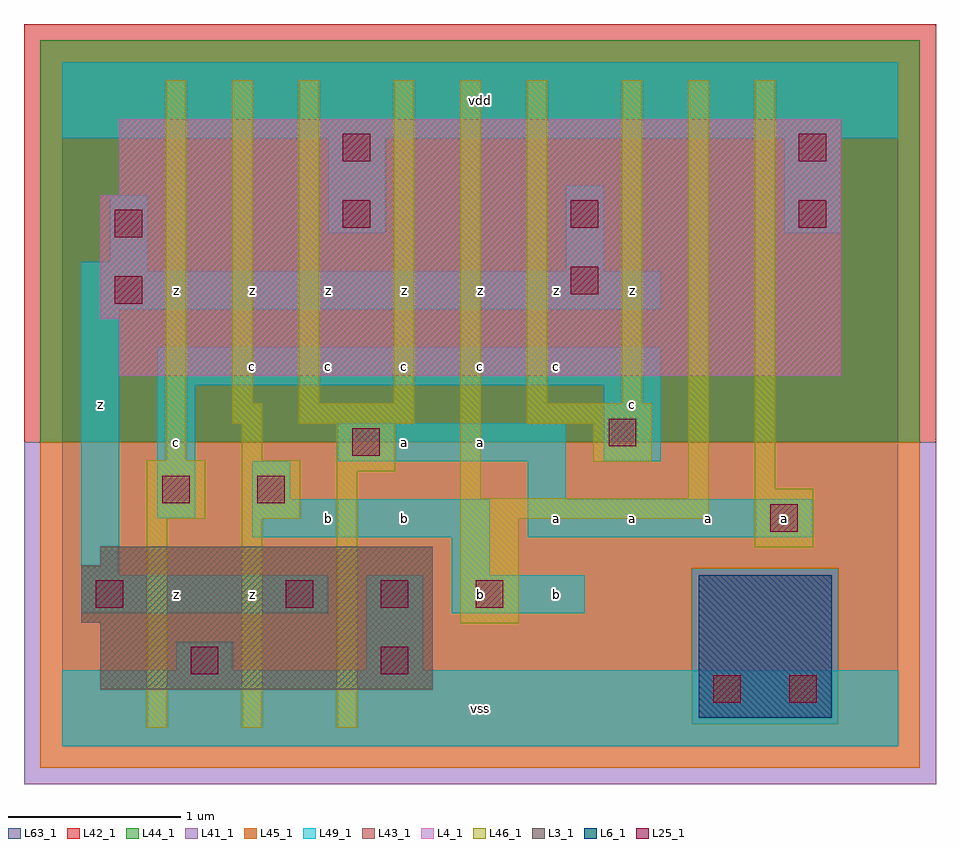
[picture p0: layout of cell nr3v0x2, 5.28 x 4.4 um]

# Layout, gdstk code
import gdstk
lib = gdstk.Library(unit=1e-6, precision=1e-09)
def R(c, l, rs):  # rectangles x0, y0, x1, y1
    for r in rs: c.add(gdstk.rectangle(r[:2], r[2:], *l))
def A(c, l, x, y, w, h, nx, ny, dx, dy):  # array of equal rectangles
    R(c, l, [(x+i*dx, y+j*dy, x+i*dx+w, y+j*dy+h) for i in range(nx) for j in range(ny)])
L3_1 = (3, 1)
L4_1 = (4, 1)
L6_1 = (6, 1)
L25_1 = (25, 1)
L41_1 = (41, 1)
L42_1 = (42, 1)
L43_1 = (43, 1)
L44_1 = (44, 1)
L45_1 = (45, 1)
L46_1 = (46, 1)
L49_1 = (49, 1)
L63_1 = (63, 1)

nr3v0x2 = lib.new_cell('nr3v0x2')
R(nr3v0x2, L3_1, [(0.22,0.33,2.145,0.715), (0.11,0.715,2.145,1.045), (0.22,1.045,2.145,1.155)])
R(nr3v0x2, L4_1, [(0.33,2.145,4.51,2.475), (0.22,2.475,4.51,3.19), (0.33,3.19,4.51,3.63)])
R(nr3v0x2, L6_1, [(3.685,0.165,4.455,0.99)])
A(nr3v0x2, L25_1, 1.295, 0.8, 0.16, 0.16, 3, 1, 0.55, 0)
A(nr3v0x2, L25_1, 1.625, 3, 0.16, 0.16, 3, 1, 1.32, 0)
R(nr3v0x2, L25_1, [(3.77,0.25,3.93,0.41), (4.21,0.25,4.37,0.41), (0.745,0.415,0.905,0.575), (1.845,0.415,2.005,0.575), (0.195,0.8,0.355,0.96), (4.1,1.24,4.26,1.4), (0.58,1.405,0.74,1.565), (1.13,1.405,1.29,1.565), (1.68,1.68,1.84,1.84), (3.165,1.735,3.325,1.895), (0.305,2.56,0.465,2.72), (2.945,2.615,3.105,2.775), (0.305,2.945,0.465,3.105), (1.625,3.385,1.785,3.545), (4.265,3.385,4.425,3.545)])
R(nr3v0x2, L41_1, [(-0.22,-0.22,5.06,1.76)])
R(nr3v0x2, L42_1, [(-0.22,1.76,5.06,4.18)])
R(nr3v0x2, L43_1, [(3.685,0.165,4.455,0.99), (0.22,0.33,2.145,0.715), (0.11,0.715,2.145,1.045), (0.22,1.045,2.145,1.155), (0.33,2.145,4.51,2.475), (0.22,2.475,4.51,3.19), (0.33,3.19,4.51,3.63)])
R(nr3v0x2, L44_1, [(3.645,0.125,4.495,1.03), (-0.125,1.76,4.965,4.085)])
R(nr3v0x2, L45_1, [(-0.125,-0.125,4.965,0.125), (-0.125,0.125,3.645,1.03), (4.495,0.125,4.965,1.03), (-0.125,1.03,4.965,1.76)])
R(nr3v0x2, L46_1, [(0.49,0.105,0.61,1.315), (1.04,0.105,1.16,1.315), (1.59,0.105,1.71,1.59), (2.305,0.71,2.645,1.315), (4.01,1.15,4.35,1.49), (0.49,1.315,0.83,1.655), (1.04,1.315,1.38,1.655), (2.305,1.315,3.745,1.435), (2.305,1.435,2.425,3.855), (3.625,1.435,3.745,3.855), (4.01,1.49,4.13,3.855), (1.59,1.59,1.93,1.865), (3.075,1.645,3.415,1.865), (0.6,1.655,0.72,3.855), (1.04,1.655,1.16,1.865), (0.985,1.865,1.16,1.985), (1.37,1.865,2.04,1.985), (2.69,1.865,3.415,1.985), (0.985,1.985,1.105,3.855), (1.37,1.985,1.49,3.855), (1.92,1.985,2.04,3.855), (2.69,1.985,2.81,3.855), (3.24,1.985,3.36,3.855)])
R(nr3v0x2, L49_1, [(0,0,4.84,0.44), (0.66,0.44,0.99,0.605), (1.76,0.44,2.09,0.99), (0.11,0.77,1.54,0.99), (2.255,0.77,3.025,0.99), (0.11,0.99,0.33,2.53), (2.255,0.99,2.475,1.21), (1.1,1.21,2.475,1.43), (2.695,1.21,4.345,1.43), (0.55,1.32,0.77,2.09), (1.1,1.43,1.32,1.65), (2.695,1.43,2.915,1.65), (1.595,1.65,2.915,1.87), (3.135,1.65,3.465,2.09), (0.55,2.09,3.465,2.31), (0.11,2.53,3.465,2.75), (0.11,2.75,0.495,2.805), (2.915,2.75,3.135,3.245), (0.275,2.805,0.495,3.19), (1.54,2.97,1.87,3.52), (4.18,2.97,4.51,3.52), (0,3.52,4.84,3.96)])
R(nr3v0x2, L63_1, [(0,0,4.84,3.96)])
nr3v0x2.add(gdstk.Label('z', (0.66,0.88), layer=49, texttype=1))
nr3v0x2.add(gdstk.Label('c', (0.66,1.76), layer=49, texttype=1))
nr3v0x2.add(gdstk.Label('z', (0.22,1.98), layer=49, texttype=1))
nr3v0x2.add(gdstk.Label('z', (0.66,2.64), layer=49, texttype=1))
nr3v0x2.add(gdstk.Label('z', (1.1,0.88), layer=49, texttype=1))
nr3v0x2.add(gdstk.Label('b', (1.54,1.32), layer=49, texttype=1))
nr3v0x2.add(gdstk.Label('c', (1.1,2.2), layer=49, texttype=1))
nr3v0x2.add(gdstk.Label('c', (1.54,2.2), layer=49, texttype=1))
nr3v0x2.add(gdstk.Label('z', (1.1,2.64), layer=49, texttype=1))
nr3v0x2.add(gdstk.Label('z', (1.54,2.64), layer=49, texttype=1))
nr3v0x2.add(gdstk.Label('vss', (2.42,0.22), layer=49, texttype=1))
nr3v0x2.add(gdstk.Label('b', (2.42,0.88), layer=49, texttype=1))
nr3v0x2.add(gdstk.Label('b', (1.98,1.32), layer=49, texttype=1))
nr3v0x2.add(gdstk.Label('a', (2.42,1.76), layer=49, texttype=1))
nr3v0x2.add(gdstk.Label('a', (1.98,1.76), layer=49, texttype=1))
nr3v0x2.add(gdstk.Label('c', (1.98,2.2), layer=49, texttype=1))
nr3v0x2.add(gdstk.Label('c', (2.42,2.2), layer=49, texttype=1))
nr3v0x2.add(gdstk.Label('z', (1.98,2.64), layer=49, texttype=1))
nr3v0x2.add(gdstk.Label('z', (2.42,2.64), layer=49, texttype=1))
nr3v0x2.add(gdstk.Label('vdd', (2.42,3.74), layer=49, texttype=1))
nr3v0x2.add(gdstk.Label('b', (2.86,0.88), layer=49, texttype=1))
nr3v0x2.add(gdstk.Label('a', (2.86,1.32), layer=49, texttype=1))
nr3v0x2.add(gdstk.Label('a', (3.3,1.32), layer=49, texttype=1))
nr3v0x2.add(gdstk.Label('a', (3.74,1.32), layer=49, texttype=1))
nr3v0x2.add(gdstk.Label('c', (2.86,2.2), layer=49, texttype=1))
nr3v0x2.add(gdstk.Label('c', (3.3,1.98), layer=49, texttype=1))
nr3v0x2.add(gdstk.Label('z', (2.86,2.64), layer=49, texttype=1))
nr3v0x2.add(gdstk.Label('z', (3.3,2.64), layer=49, texttype=1))
nr3v0x2.add(gdstk.Label('a', (4.18,1.32), layer=49, texttype=1))

lib.write_gds('nr3v0x2.gds')
